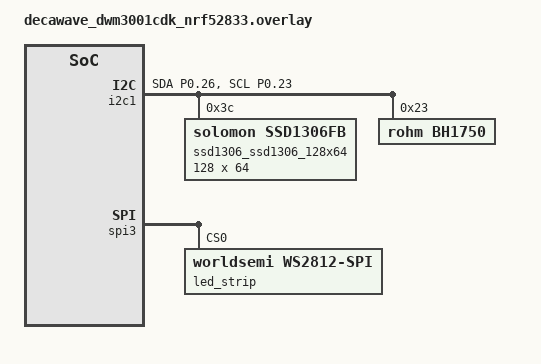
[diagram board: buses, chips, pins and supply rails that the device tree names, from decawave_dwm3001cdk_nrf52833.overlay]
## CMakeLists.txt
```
# SPDX-License-Identifier: Apache-2.0

cmake_minimum_required(VERSION 3.20.0)

find_package(Zephyr REQUIRED HINTS $ENV{ZEPHYR_BASE})
project(funpack_dwm3001cdk)

target_sources(app PRIVATE 
src/main.c 
src/my_lbs.c
src/bh1750_sensor.c
)
zephyr_library_include_directories(.)
set(BOARD_FLASH_RUNNER jlink)
```

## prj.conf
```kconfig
#
# Copyright (c) 2018 Nordic Semiconductor
#
# SPDX-License-Identifier: LicenseRef-Nordic-5-Clause
#

# Logger module
CONFIG_LOG=y
# CONFIG_LOG_DEFAULT_LEVEL=4
# Button and LED library
CONFIG_DK_LIBRARY=y
# Floating Point Unit
# CONFIG_FPU=y
# Bluetooth LE
# STEP 1 - Include the Bluetooth LE stack in your project
CONFIG_BT=y
# STEP 2 - Set the Bluetooth LE device name
CONFIG_BT_DEVICE_NAME="FUNPACK_DWM3001CDK"

# Increase stack size for the main thread and System Workqueue
CONFIG_SYSTEM_WORKQUEUE_STACK_SIZE=2048
CONFIG_MAIN_STACK_SIZE=4096

CONFIG_BT_PERIPHERAL=y
# CONFIG_SHIELD_SSD1306_128X64=y



CONFIG_I2C=y
# CONFIG_I2C_SHELL=y
# CONFIG_SHELL=y
# CONFIG_SHELL_BACKEND_SERIAL=y
CONFIG_SSD1306=y


CONFIG_HEAP_MEM_POOL_SIZE=16384
CONFIG_DISPLAY=y

CONFIG_CFB_LOG_LEVEL_DBG=y
CONFIG_CHARACTER_FRAMEBUFFER=y


CONFIG_LED_STRIP=y
CONFIG_LED_STRIP_LOG_LEVEL_DBG=y
CONFIG_SOC_NRF52832_ALLOW_SPIM_DESPITE_PAN_58=y
```

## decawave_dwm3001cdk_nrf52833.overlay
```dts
// To get started, press Ctrl+Space to bring up the completion menu and view the available nodes.

// You can also use the buttons in the sidebar to perform actions on nodes.
// Actions currently available include:

// * Enabling / disabling the node
// * Adding the bus to a bus
// * Removing the node
// * Connecting ADC channels

// For more help, browse the DeviceTree documentation at https://docs.zephyrproject.org/latest/guides/dts/index.html
// You can also visit the nRF DeviceTree extension documentation at https://docs.nordicsemi.com/bundle/nrf-connect-vscode/page/guides/ncs_configure_app.html#devicetree-support-in-the-extension
#include <zephyr/dt-bindings/led/led.h>

#include "nrf52-bindings.h"
/ {
	chosen {
		zephyr,display = &ssd1306_ssd1306_128x64;
	};
	aliases {
		led-strip = &led_strip;
	};
};

&i2c1 {
	status = "okay";
	pinctrl-0 = <&i2c1_default>;
	pinctrl-names = "default";
	zephyr,concat-buf-size = <2048>;
	zephyr,flash-buf-max-size = <2048>;
	ssd1306_ssd1306_128x64: ssd1306@3c {
		compatible = "solomon,ssd1306fb";
		reg = <0x3c>;
		width = <128>;
		height = <64>;
		segment-offset = <0>;
		page-offset = <0>;
		display-offset = <0>;
		multiplex-ratio = <63>;
		segment-remap;
		com-invdir;
		prechargep = <0x22>;
	};

	bh1750: bh1750@23 {
		status = "okay";
		compatible = "rohm,bh1750";
		reg = <0x23>;
	};
};

&pinctrl {
	i2c1_default: i2c1_default {
		group1 {
			psels = <NRF_PSEL(TWIM_SDA, 0, 26)>, <NRF_PSEL(TWIM_SCL, 0, 23)>;
            bias-pull-up;
		};
	};
};
&spi3 { /* MOSI on  / P0.27 */
	compatible = "nordic,nrf-spim";
	led_strip: ws2812@0 {
		compatible = "worldsemi,ws2812-spi";

		/* SPI */
		reg = <0>; /* ignored, but necessary for SPI bindings */
		spi-max-frequency = <SPI_FREQ>;

		/* WS2812 */
		chain-length = <64>; /* arbitrary; change at will */
		color-mapping = <LED_COLOR_ID_GREEN
				 LED_COLOR_ID_RED
				 LED_COLOR_ID_BLUE>;
		spi-one-frame = <ONE_FRAME>;
		spi-zero-frame = <ZERO_FRAME>;
	};
};
&spi3_default {
	group1 {
		psels = <NRF_PSEL(SPIM_SCK, 0, 3)>,
				<NRF_PSEL(SPIM_MOSI, 0, 27)>,
				<NRF_PSEL(SPIM_MISO, 0, 29)>;
	};
};
```

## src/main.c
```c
#include <stdint.h>
#include <zephyr/kernel.h>
#include <zephyr/logging/log.h>
#include <zephyr/bluetooth/bluetooth.h>
#include <zephyr/bluetooth/gap.h>
#include <zephyr/bluetooth/uuid.h>
#include <zephyr/bluetooth/addr.h>
#include <dk_buttons_and_leds.h>
#include "zephyr/bluetooth/conn.h"
#include <zephyr/drivers/display.h>
#include <zephyr/display/cfb.h>
#include <zephyr/drivers/led_strip.h>
#include <zephyr/drivers/sensor.h>
#include <stdio.h>
#include "my_lbs.h"
#include "led_strip.h"
LOG_MODULE_REGISTER(FUNPACK_DWM3001CDK, LOG_LEVEL_INF);
#define COMPANY_ID_CODE 0x0059

#define DEVICE_NAME     CONFIG_BT_DEVICE_NAME
#define DEVICE_NAME_LEN (sizeof(DEVICE_NAME) - 1)

#define RUN_STATUS_LED         DK_LED4
#define RUN_LED_BLINK_INTERVAL 1000
#define CONNECTION_STATUS_LED  DK_LED2
#define LBS_LED                DK_LED1
#define USER_BUTTON            DK_BTN1_MSK

#define DISPLAY_BUFFER_PITCH 128
struct bt_conn* default_conn        = NULL;
static const struct bt_le_adv_param* adv_param = BT_LE_ADV_PARAM(BT_LE_ADV_OPT_CONN
                                                                     | BT_LE_ADV_OPT_USE_IDENTITY,
                                                                 BT_GAP_ADV_FAST_INT_MIN_1,
                                                                 BT_GAP_ADV_FAST_INT_MIN_1,
                                                                 NULL);

typedef struct {
    uint16_t company_id;
    uint16_t number_pressed;
} adv_mfg_data_t;

static adv_mfg_data_t adv_mfg_data = {
    .company_id     = COMPANY_ID_CODE,
    .number_pressed = 0,
};
static const struct bt_data ad[] = {
    BT_DATA_BYTES(BT_DATA_FLAGS, BT_LE_AD_GENERAL | BT_LE_AD_NO_BREDR),
    BT_DATA(BT_DATA_NAME_COMPLETE, DEVICE_NAME, DEVICE_NAME_LEN),
    BT_DATA(BT_DATA_MANUFACTURER_DATA, (uint8_t*)&adv_mfg_data, sizeof(adv_mfg_data)),

};

static const struct bt_data sd[] = {

    BT_DATA_BYTES(BT_DATA_UUID128_ALL,
                  BT_UUID_128_ENCODE(0x00001523, 0x1212, 0xefde, 0x1523, 0x785feabcd123)),
};

void on_connected(struct bt_conn* conn, uint8_t err) {
    if (err) {
        LOG_ERR("Failed to connect (err %d)\n", err);
        return;
    }
    LOG_INF("...Connected\n");
    default_conn = bt_conn_ref(conn);
    dk_set_led_on(CONNECTION_STATUS_LED);
    struct bt_conn_info info;
    bt_conn_get_info(default_conn, &info);
    LOG_INF("Connected to %02x:%02x:%02x:%02x:%02x:%02x\n",
            info.le.dst->a.val[5],
            info.le.dst->a.val[4],
            info.le.dst->a.val[3],
            info.le.dst->a.val[2],
            info.le.dst->a.val[1],
            info.le.dst->a.val[0]);
    double coon_intvl = info.le.interval * 1.25;
    uint16_t spv_tmo  = info.le.timeout * 10;
    LOG_INF("coon parameter: interval: %.2f ms; latency %d intervals, timeout %d ms",
            coon_intvl,
            info.le.latency,
            spv_tmo);
}

void on_disconnected(struct bt_conn* conn, uint8_t reason) {
    dk_set_led_off(CONNECTION_STATUS_LED);
    if (default_conn) {
        bt_conn_unref(default_conn);
        // default_conn = NULL;
    }
    LOG_INF("Disconnected (reason %u)\n", reason);
}

struct bt_conn_cb conn_callbacks = {
    .connected    = on_connected,
    .disconnected = on_disconnected,

};
static uint32_t user_button_state;

static void button_changed(uint32_t button_state, uint32_t has_changed) {
    int err;
    bool btn_ched = (has_changed & USER_BUTTON) ? true : false;
    bool btn_pred = (button_state & USER_BUTTON) ? true : false;
    if (btn_ched) {
        LOG_INF("Button %s\n", btn_pred ? "pressed" : "released");
        user_button_state = button_state & USER_BUTTON;
        my_lbs_sent_btn_indi(user_button_state);
    }
}

static int init_button(void) {
    int err;

    err = dk_buttons_init(button_changed);
    if (err) {
        printk("Cannot init buttons (err: %d)\n", err);
    }

    return err;
}

bool btn_cb(void) {
    return dk_get_buttons() & USER_BUTTON;
}

void led_cb(const bool led_state) {
    if (led_state) {
        dk_set_led_on(LBS_LED);
    } else {
        dk_set_led_off(LBS_LED);
    }
}
struct bt_lbs_cb lbs_cb = {
    .led_write                = led_cb,
    .button_read              = btn_cb,
    .led_strip_display_number = led_strip_display_number,
};

int main(void) {
    int blink_status = 0;
    int err;

    LOG_INF("Starting Lesson 2 - Exercise 1 \n");

    err = dk_leds_init();
    if (err) {
        LOG_ERR("LEDs init failed (err %d)\n", err);
        return -1;
    }

    err = init_button();
    if (err) {

        LOG_ERR("Button init failed (err %d)\n", err);
        return -1;
    }
    my_lbs_init(&lbs_cb);

    bt_addr_le_t addr;
    err = bt_addr_le_from_str("FF:EE:DD:CC:BB:AA", "random", &addr);
    if (err < 0) {
        LOG_ERR("Failed to parse address (err %d)\n", err);
        return -1;
    }
    err = bt_id_create(&addr, NULL);
    if (err < 0) {
        LOG_ERR("Failed to create identity (err %d)\n", err);
        return -1;
    }
    err = bt_conn_cb_register(&conn_callbacks);
    if (err < 0) {
        LOG_ERR("Failed to register connection callbacks (err %d)\n", err);
        return -1;
    }
    err = bt_enable(NULL);
    if (err < 0) {
        LOG_ERR("Bluetooth init failed (err %d)\n", err);
        return -1;
    }

    LOG_INF("Bluetooth initialized\n");

    err = bt_le_adv_start(adv_param, ad, ARRAY_SIZE(ad), sd, ARRAY_SIZE(sd));
    if (err) {
        LOG_ERR("Advertising failed to start (err %d)\n", err);
        return -1;
    }

    LOG_INF("Advertising successfully started\n");

    const struct device* display;
    display = DEVICE_DT_GET(DT_CHOSEN(zephyr_display));
    if (display == NULL) {
        LOG_ERR("device pointer is NULL");
        return -1;
    }

    if (!device_is_ready(display)) {
        LOG_ERR("display device is not ready");
        return -1;
    }
    err = cfb_framebuffer_init(display);
    if (err < 0) {
        LOG_ERR("Framebuffer initialization failed");
        return -1;
    }
    // cfb_set_kerning(display, 3);
    err = cfb_print(display, "hello world", 0, 0);
    if (err < 0) {
        LOG_ERR("cfb_print failed");
        return -1;
    }
    err = cfb_framebuffer_invert(display);
    err = cfb_framebuffer_finalize(display);
    if (err < 0) {
        LOG_ERR("Framebuffer finalization failed");
        return -1;
    }
    struct display_capabilities capabilities;
    display_get_capabilities(display, &capabilities);

    const uint16_t x_res = capabilities.x_resolution;
    const uint16_t y_res = capabilities.y_resolution;

    LOG_INF("x_resolution: %d", x_res);
    LOG_INF("y_resolution: %d", y_res);
    LOG_INF("supported pixel formats: %d", capabilities.supported_pixel_formats);
    LOG_INF("screen_info: %d", capabilities.screen_info);
    LOG_INF("current_pixel_format: %d", capabilities.current_pixel_format);
    LOG_INF("current_orientation: %d", capabilities.current_orientation);
    led_strip_init();
    led_strip_set_char_spacing(0);
    led_strip_scroll_text("Hello, world!", SCROLL_LEFT);
    for (;;) {
        led_strip_scroll_update();
        k_msleep(250);
    }
}
```

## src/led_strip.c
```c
#include <stdint.h>
#include <zephyr/kernel.h>
#include <zephyr/logging/log.h>
#include <zephyr/drivers/led_strip.h>
#include <string.h>
#include "numbers.h"
#include "led_strip.h"

LOG_MODULE_REGISTER(LED_STRIP, LOG_LEVEL_INF);

#define STRIP_NODE DT_ALIAS(led_strip)

#if DT_NODE_HAS_PROP(DT_ALIAS(led_strip), chain_length)
#define STRIP_NUM_PIXELS DT_PROP(DT_ALIAS(led_strip), chain_length)
#else
#error Unable to determine length of LED strip
#endif

#define LED_MATRIX_SIZE   8
#define NUM_PIXELS        (LED_MATRIX_SIZE * LED_MATRIX_SIZE)
#define MAX_STRING_LENGTH 100

// 滚动方向
// typedef enum { SCROLL_LEFT, SCROLL_RIGHT } scroll_direction_t;

// LED像素缓冲区
static struct led_rgb pixels[STRIP_NUM_PIXELS];
static const struct device* const strip = DEVICE_DT_GET(STRIP_NODE);

// 滚动显示相关变量
static uint8_t scroll_buffer[MAX_STRING_LENGTH * LED_MATRIX_SIZE][LED_MATRIX_SIZE];
static int scroll_buffer_width              = 0;
static int scroll_position                  = 0;
static bool scroll_running                  = false;
static scroll_direction_t current_direction = SCROLL_LEFT;

// 获取LED矩阵中LED的索引
#define LED_INDEX(row, col) ((row) * LED_MATRIX_SIZE + (col))

static void clear_display(struct led_rgb* pixels) {
    const struct led_rgb color_off = LED_COLOR_OFF;
    for (int i = 0; i < STRIP_NUM_PIXELS; i++) {
        pixels[i] = color_off;
    }
}

static void update_display() {
    int ret = led_strip_update_rgb(strip, pixels, STRIP_NUM_PIXELS);
    if (ret) {
        printk("Failed to update strip: %d\n", ret);
    }
}

// 添加字符间距配置
static uint8_t char_spacing = 1; // 默认间距为1个像素

// 设置字符间距的函数
void led_strip_set_char_spacing(uint8_t spacing) {
    char_spacing = spacing;
}
// 准备字符串的滚动缓冲区
static void prepare_scroll_buffer(const char* str) {
    int str_len = strlen(str);
    memset(scroll_buffer, 0, sizeof(scroll_buffer));
    scroll_buffer_width = 0;

    // 为每个字符创建点阵
    for (int i = 0; i < str_len; i++) {
        char c = str[i];
        // 确保字符在ASCII范围内
        if (c < 0 || c > 127) {
            continue;
        }

        uint8_t char_width = CHAR_WIDTHS[c];

        // 复制字符的实际点阵到滚动缓冲区
        for (int row = 0; row < 7; row++) {              // 只复制7行
            for (int col = 0; col < char_width; col++) { // 只复制实际宽度
                scroll_buffer[scroll_buffer_width + col][row + 1] = ASCII_CHARS[c][row][col];
                // row + 1 使字符在8x8矩阵中垂直居中
            }
        }
        scroll_buffer_width += char_width;

        // 在字符之间添加1像素的间距
        if (i < str_len - 1) {
            scroll_buffer_width += 1;
        }
    }
}

void led_strip_scroll_text(const char* str, scroll_direction_t direction) {
    if (!device_is_ready(strip)) {
        LOG_ERR("LED strip device is not ready");
        return;
    }

    current_direction = direction;
    scroll_running    = true;
    scroll_position   = (direction == SCROLL_LEFT) ? 0 : -scroll_buffer_width + LED_MATRIX_SIZE;

    prepare_scroll_buffer(str);
}

void led_strip_scroll_update() {
    if (!scroll_running) {
        return;
    }

    const struct led_rgb color_on  = LED_COLOR_WHITE;
    const struct led_rgb color_off = LED_COLOR_OFF;

    // 清除显示
    clear_display(pixels);

    // 更新显示内容
    for (int row = 0; row < LED_MATRIX_SIZE; row++) {
        for (int col = 0; col < LED_MATRIX_SIZE; col++) {
            int buffer_x = scroll_position + col;
            if (buffer_x >= 0 && buffer_x < scroll_buffer_width) {
                int idx     = LED_INDEX(row, col);
                pixels[idx] = scroll_buffer[buffer_x][row] ? color_on : color_off;
            }
        }
    }

    // 更新LED显示
    update_display();

    // 更新滚动位置
    if (current_direction == SCROLL_LEFT) {
        scroll_position++;
        if (scroll_position >= scroll_buffer_width) {
            scroll_position = 0; // 循环滚动
        }
    } else {
        scroll_position--;
        if (scroll_position <= -scroll_buffer_width) {
            scroll_position = LED_MATRIX_SIZE - 1; // 循环滚动
        }
    }
}

void led_strip_stop_scroll() {
    scroll_running = false;
    clear_display(pixels);
    update_display();
}

int led_strip_init() {
    if (!device_is_ready(strip)) {
        LOG_ERR("LED strip device %s is not ready", strip->name);
        return -1;
    }

    LOG_INF("LED strip initialized successfully");
    clear_display(pixels);
    update_display();
    return 0;
}

// 保持向后兼容的数字显示功能
void led_strip_display_number(uint8_t number) {
    if (number > 9) {
        return;
    }

    char str[2] = {number + '0', '\0'};
    led_strip_scroll_text(str, SCROLL_LEFT);
}
```

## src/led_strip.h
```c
#ifndef LED_STRIP_H_
#define LED_STRIP_H_
int led_strip_init();
void led_strip_display_number(uint8_t number);
#endif // LED_STRIP_H_
```

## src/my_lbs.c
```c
#include <stdint.h>
#include <zephyr/types.h>
#include <stddef.h>
#include <string.h>
#include <errno.h>
#include <zephyr/sys/printk.h>
#include <zephyr/sys/byteorder.h>
#include <zephyr/kernel.h>

#include <zephyr/bluetooth/bluetooth.h>
#include <zephyr/bluetooth/hci.h>
#include <zephyr/bluetooth/conn.h>
#include <zephyr/bluetooth/uuid.h>
#include <zephyr/bluetooth/gatt.h>
#include <zephyr/drivers/display.h>
#include <zephyr/display/cfb.h>
#include "my_lbs.h"
#include "led_strip.h"
#include <zephyr/logging/log.h>

LOG_MODULE_REGISTER(MY_LBS, LOG_LEVEL_DBG);

static struct bt_lbs_cb lbs_cb;
char uart_display_buffer[100];
static ssize_t read_button(struct bt_conn* conn,
                           const struct bt_gatt_attr* attr,
                           void* buf,
                           uint16_t len,
                           uint16_t offset) {
    LOG_DBG("Attribute read, handle: %u, conn: %p", attr->handle, (void*)conn);

    if (lbs_cb.button_read) {
        // Get button state directly from callback
        uint8_t value = lbs_cb.button_read();
        LOG_DBG("buf: %p, len: %u, offset: %u, value: %u", buf, len, offset, value);
        // Pass the value directly to bt_gatt_attr_read
        return bt_gatt_attr_read(conn, attr, buf, len, offset, &value, sizeof(value));
    }

    return 0;
}

static ssize_t write_led(struct bt_conn* conn,
                         const struct bt_gatt_attr* attr,
                         const void* buf,
                         uint16_t len,
                         uint16_t offset,
                         uint8_t flags) {
    LOG_DBG("attribute write, handle: %u, conn: %p", attr->handle, (void*)conn);
    LOG_DBG("... len: %u, offset: %u, flags: %u", len, offset, flags);
    if (lbs_cb.led_write) {
        // Get the value directly from the buffer
        bool led_state = *((bool*)buf);
        LOG_DBG("led_state: %u", led_state);
        // Pass the value directly to the callback
        lbs_cb.led_write(led_state);
    }
    return len;
};

static ssize_t strip_display_number(struct bt_conn* conn,
                                    const struct bt_gatt_attr* attr,
                                    const void* buf,
                                    uint16_t len,
                                    uint16_t offset,
                                    uint8_t flags) {
    LOG_DBG("attribute write, handle: %u, conn: %p", attr->handle, (void*)conn);
    LOG_DBG("... len: %u, offset: %u, flags: %u", len, offset, flags);
    if (lbs_cb.led_strip_display_number) {
        // Get the value directly from the buffer
        uint8_t number = *((uint8_t*)buf);
        LOG_DBG("number: %u", number);
        // Pass the value directly to the callback
        lbs_cb.led_strip_display_number(number);
    }
    return len;
};
extern const struct device* display;
static ssize_t on_receive(struct bt_conn* conn,
                          const struct bt_gatt_attr* attr,
                          const void* buf,
                          uint16_t len,
                          uint16_t offset,
                          uint8_t flags) {
    LOG_DBG("Received data, handle %d, conn %p", attr->handle, (void*)conn);
    memcpy(uart_display_buffer, buf, len);
    uart_display_buffer[len] = '\0'; // Null-terminate the string
    LOG_DBG("Received data: %s", uart_display_buffer);
    led_strip_scroll_text(uart_display_buffer, SCROLL_LEFT);
    int err = 0;
    cfb_framebuffer_clear(display, 0);
    err = cfb_print(display, uart_display_buffer, 0, 0);
    if (err < 0) {
        LOG_ERR("cfb_print failed");
        return -1;
    }
    err = cfb_framebuffer_invert(display);
    err = cfb_framebuffer_finalize(display);
    if (err < 0) {
        LOG_ERR("Framebuffer finalization failed");
        return -1;
    }
    // if (lbs_cb.received) {
    //     lbs_cb.received(conn, buf, len);
    // }
    // return len;
}
bool indicate_enabled;
bool notify_mysensor_enabled;
static struct bt_gatt_indicate_params indi_params;

static void my_lbs_changed_cb(const struct bt_gatt_attr* attr, uint16_t value) {
    LOG_DBG("Attribute changed: %u", value);
    indicate_enabled = (value == BT_GATT_CCC_INDICATE) ? true : false;
}

static void mylbsbc_ccc_mysensor_cfg_changed(const struct bt_gatt_attr* attr, uint16_t value) {
    LOG_DBG("... CCC MYSENSOR cfg changed: %u", value);
    notify_mysensor_enabled = (value == BT_GATT_CCC_NOTIFY);
}

BT_GATT_SERVICE_DEFINE(my_lbs,
                       BT_GATT_PRIMARY_SERVICE(BT_UUID_LBS),
                       BT_GATT_CHARACTERISTIC(BT_UUID_LBS_BUTTON,
                                              BT_GATT_CHRC_READ | BT_GATT_CHRC_INDICATE,
                                              BT_GATT_PERM_READ,
                                              read_button,
                                              NULL,
                                              NULL), // No user data needed
                       BT_GATT_CCC(my_lbs_changed_cb, BT_GATT_PERM_READ | BT_GATT_PERM_WRITE),
                       BT_GATT_CHARACTERISTIC(BT_UUID_LBS_LED,
                                              BT_GATT_CHRC_WRITE,
                                              BT_GATT_PERM_WRITE,
                                              NULL,
                                              write_led,
                                              NULL),
                       BT_GATT_CHARACTERISTIC(BT_UUID_LBS_MYSENSOR,
                                              BT_GATT_CHRC_NOTIFY,
                                              BT_GATT_PERM_NONE,
                                              NULL,
                                              NULL,
                                              NULL),
                       BT_GATT_CCC(mylbsbc_ccc_mysensor_cfg_changed,
                                   BT_GATT_PERM_READ | BT_GATT_PERM_WRITE),
                       BT_GATT_CHARACTERISTIC(BT_UUID_LBS_LED_STRIP,
                                              BT_GATT_CHRC_WRITE,
                                              BT_GATT_PERM_WRITE,
                                              NULL,
                                              strip_display_number,
                                              NULL),
                       BT_GATT_CHARACTERISTIC(BT_UUID_NUS_RX,
                                              BT_GATT_CHRC_WRITE | BT_GATT_CHRC_WRITE_WITHOUT_RESP,
                                              BT_GATT_PERM_READ | BT_GATT_PERM_WRITE,
                                              NULL,
                                              on_receive,
                                              NULL));

void indi_cb(struct bt_conn* conn, struct bt_gatt_indicate_params* params, uint8_t err) {
    if (err != 0) {
        LOG_ERR("Indication failed: %d", err);
    } else {
        LOG_DBG("Indication sent successfully");
    }
    // Reset the indication parameters
    // indicate_enabled = false;
    // memset(&indi_params, 0, sizeof(indi_params));
}

int my_lbs_sent_btn_indi(bool btn_state) {
    if (!indicate_enabled) {
        return -EACCES;
    }
    indi_params.attr    = &my_lbs.attrs[2];
    indi_params.data    = &btn_state;
    indi_params.len     = sizeof(btn_state);
    indi_params.func    = indi_cb;
    indi_params.destroy = NULL; // No need to destroy the params
    return bt_gatt_indicate(NULL, &indi_params);
}

int my_lbs_send_sensor_notify(uint32_t sensor_value) {
    if (!notify_mysensor_enabled) {
        return -EACCES;
    }

    return bt_gatt_notify(NULL, &my_lbs.attrs[7], &sensor_value, sizeof(sensor_value));
}

int my_lbs_init(const struct bt_lbs_cb* callbacks) {
    if (callbacks) {
        lbs_cb.led_write   = callbacks->led_write;
        lbs_cb.button_read = callbacks->button_read;
        lbs_cb.led_strip_display_number = callbacks->led_strip_display_number;
    }

    return 0;
}
```

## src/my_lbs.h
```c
#ifndef MY_LBS_H_
#define MY_LBS_H_

#include <zephyr/types.h>
#include "src/led_strip.h"
#define BT_UUID_LBS_VAL BT_UUID_128_ENCODE(0x00001532, 0x1212, 0xefde, 0x1523, 0x785feabcd123)

/** @brief Button Characteristic UUID. */
#define BT_UUID_LBS_BUTTON_VAL                                                                     \
	BT_UUID_128_ENCODE(0x00001533, 0x1212, 0xefde, 0x1523, 0x785feabcd123)

/** @brief LED Characteristic UUID. */
#define BT_UUID_LBS_LED_VAL BT_UUID_128_ENCODE(0x00001534, 0x1212, 0xefde, 0x1523, 0x785feabcd123)
#define BT_UUID_LBS_MYSENSOR_VAL \
	BT_UUID_128_ENCODE(0x00001535, 0x1212, 0xefde, 0x1523, 0x785feabcd123)
#define BT_UUID_LBS_LED_STRIP_VAL                                                                  \
    BT_UUID_128_ENCODE(0x00001536, 0x1212, 0xefde, 0x1523, 0x785feabcd123)

/** @brief UUID of the RX Characteristic. **/
#define BT_UUID_NUS_RX_VAL       BT_UUID_128_ENCODE(0x00001537, 0x1212, 0xefde, 0x1523, 0x785feabcd123)
#define  BT_UUID_LBS BT_UUID_DECLARE_128(BT_UUID_LBS_VAL)
#define  BT_UUID_LBS_BUTTON BT_UUID_DECLARE_128(BT_UUID_LBS_BUTTON_VAL)
#define BT_UUID_LBS_LED     BT_UUID_DECLARE_128(BT_UUID_LBS_LED_VAL)
#define BT_UUID_LBS_MYSENSOR     BT_UUID_DECLARE_128(BT_UUID_LBS_MYSENSOR_VAL)
#define BT_UUID_LBS_LED_STRIP    BT_UUID_DECLARE_128(BT_UUID_LBS_LED_STRIP_VAL)
#define BT_UUID_NUS_RX           BT_UUID_DECLARE_128(BT_UUID_NUS_RX_VAL)

struct bt_lbs_cb {
    bool (*button_read)(void);
    void (*led_write)(const bool led_state);
    void (*led_strip_display_number)(uint8_t number);
    void (*received)(struct bt_conn* conn, const uint8_t* const data, uint16_t len);
};

int my_lbs_init(const struct bt_lbs_cb* callbacks);
int my_lbs_sent_btn_indi(bool btn_state);
int my_lbs_send_sensor_notify(uint32_t sensor_value);
#endif // MY_LBS_H_
```

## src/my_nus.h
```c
#ifndef MY_NUS_H_
#define MY_NUS_H_



#endif // MY_NUS_H_
```

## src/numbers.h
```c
#ifndef NUMBERS_H
#define NUMBERS_H
#include <zephyr/drivers/led_strip.h>

#define CONFIG_SAMPLE_LED_BRIGHTNESS   25
#define CONFIG_SAMPLE_LED_UPDATE_DELAY 100

// 定义RGB颜色
#define LED_COLOR_WHITE {.r = 35, .g = 23, .b = 37}
#define LED_COLOR_OFF   {.r = 0, .g = 0, .b = 0}

// 为每个字符定义实际宽度
static const uint8_t CHAR_WIDTHS[128] = {
    [' '] = 2,                                  // 空格
    ['!'] = 1, [','] = 2, ['.'] = 1, ['?'] = 4, // 标点符号
    ['-'] = 3, ['+'] = 3, [':'] = 1, [';'] = 2, ['('] = 2,  [')'] = 2, ['['] = 2,  [']'] = 2,
    ['<'] = 3, ['>'] = 3, ['='] = 3, ['*'] = 3, ['\''] = 1, ['"'] = 3, ['\\'] = 3, ['/'] = 3,
    ['0'] = 4, ['1'] = 3, ['2'] = 4, ['3'] = 4, ['4'] = 4,  ['5'] = 4, ['6'] = 4,  ['7'] = 4,
    ['8'] = 4, ['9'] = 4, ['A'] = 4, ['B'] = 4, ['C'] = 4,  ['D'] = 4, ['E'] = 4,  ['F'] = 4,
    ['G'] = 4, ['H'] = 4, ['I'] = 3, ['J'] = 4, ['K'] = 4,  ['L'] = 4, ['M'] = 5,  ['N'] = 4,
    ['O'] = 4, ['P'] = 4, ['Q'] = 4, ['R'] = 4, ['S'] = 4,  ['T'] = 3, ['U'] = 4,  ['V'] = 4,
    ['W'] = 5, ['X'] = 4, ['Y'] = 4, ['Z'] = 4, ['a'] = 4,  ['b'] = 4, ['c'] = 3,  ['d'] = 4,
    ['e'] = 4, ['f'] = 3, ['g'] = 4, ['h'] = 4, ['i'] = 1,  ['j'] = 2, ['k'] = 3,  ['l'] = 1,
    ['m'] = 5, ['n'] = 4, ['o'] = 4, ['p'] = 4, ['q'] = 4,  ['r'] = 3, ['s'] = 4,  ['t'] = 3,
    ['u'] = 4, ['v'] = 3, ['w'] = 5, ['x'] = 3, ['y'] = 3,  ['z'] = 3};

// ASCII字符的点阵字库(原有大写字母和数字保持不变,新增内容如下)
static const uint8_t ASCII_CHARS[128][7][5] = {
    // ... (保持原有的空格、数字0-9和大写字母A-Z不变)
    [' '] =
        {// 空格
         {0, 0},
               {0, 0},
               {0, 0},
               {0, 0},
               {0, 0},
               {0, 0},
               {0, 0}         },
    ['0'] =
        {// 数字0
         {1, 1, 1, 1},
               {1, 0, 0, 1},
               {1, 0, 0, 1},
               {1, 0, 0, 1},
               {1, 0, 0, 1},
               {1, 0, 0, 1},
               {1, 1, 1, 1}   },
    ['1'] =
        {// 数字1
         {0, 1, 1, 0},
               {0, 0, 1, 0},
               {0, 0, 1, 0},
               {0, 0, 1, 0},
               {0, 0, 1, 0},
               {0, 0, 1, 0},
               {1, 1, 1, 0}   },
    ['2'] =
        {// 数字2
         {1, 1, 1, 1},
               {0, 0, 0, 1},
               {0, 0, 0, 1},
               {1, 1, 1, 1},
               {1, 0, 0, 0},
               {1, 0, 0, 0},
               {1, 1, 1, 1}   },
    ['3'] =
        {// 数字3
         {1, 1, 1, 1},
               {0, 0, 0, 1},
               {0, 0, 0, 1},
               {0, 1, 1, 1},
               {0, 0, 0, 1},
               {0, 0, 0, 1},
               {1, 1, 1, 1}   },
    ['4'] =
        {// 数字4
         {1, 0, 0, 1},
               {1, 0, 0, 1},
               {1, 0, 0, 1},
               {1, 1, 1, 1},
               {0, 0, 0, 1},
               {0, 0, 0, 1},
               {0, 0, 0, 1}   },
    ['5'] =
        {// 数字5
         {1, 1, 1, 1},
               {1, 0, 0, 0},
               {1, 0, 0, 0},
               {1, 1, 1, 1},
               {0, 0, 0, 1},
               {0, 0, 0, 1},
               {1, 1, 1, 1}   },
    ['6'] =
        {// 数字6
         {1, 1, 1, 1},
               {1, 0, 0, 0},
               {1, 0, 0, 0},
               {1, 1, 1, 1},
               {1, 0, 0, 1},
               {1, 0, 0, 1},
               {1, 1, 1, 1}   },
    ['7'] =
        {// 数字7
         {1, 1, 1, 1},
               {0, 0, 0, 1},
               {0, 0, 1, 0},
               {0, 1, 0, 0},
               {0, 1, 0, 0},
               {0, 1, 0, 0},
               {0, 1, 0, 0}   },
    ['8'] =
        {// 数字8
         {1, 1, 1, 1},
               {1, 0, 0, 1},
               {1, 0, 0, 1},
               {1, 1, 1, 1},
               {1, 0, 0, 1},
               {1, 0, 0, 1},
               {1, 1, 1, 1}   },
    ['9'] =
        {// 数字9
         {1, 1, 1, 1},
               {1, 0, 0, 1},
               {1, 0, 0, 1},
               {1, 1, 1, 1},
               {0, 0, 0, 1},
               {0, 0, 0, 1},
               {1, 1, 1, 1}   },
    ['A'] =
        {// 字母A
         {0, 1, 1, 0},
               {1, 0, 0, 1},
               {1, 0, 0, 1},
               {1, 1, 1, 1},
               {1, 0, 0, 1},
               {1, 0, 0, 1},
               {1, 0, 0, 1}   },
    ['B'] =
        {// 字母B
         {1, 1, 1, 0},
               {1, 0, 0, 1},
               {1, 0, 0, 1},
               {1, 1, 1, 0},
               {1, 0, 0, 1},
               {1, 0, 0, 1},
               {1, 1, 1, 0}   },
    ['C'] =
        {// 字母C
         {0, 1, 1, 1},
               {1, 0, 0, 0},
               {1, 0, 0, 0},
               {1, 0, 0, 0},
               {1, 0, 0, 0},
               {1, 0, 0, 0},
               {0, 1, 1, 1}   },
    ['D'] =
        {// 字母D
         {1, 1, 1, 0},
               {1, 0, 0, 1},
               {1, 0, 0, 1},
               {1, 0, 0, 1},
               {1, 0, 0, 1},
               {1, 0, 0, 1},
               {1, 1, 1, 0}   },
    ['E'] =
        {// 字母E
         {1, 1, 1, 1},
               {1, 0, 0, 0},
               {1, 0, 0, 0},
               {1, 1, 1, 0},
               {1, 0, 0, 0},
               {1, 0, 0, 0},
               {1, 1, 1, 1}   },
    ['F'] =
        {// 字母F
         {1, 1, 1, 1},
               {1, 0, 0, 0},
               {1, 0, 0, 0},
               {1, 1, 1, 0},
               {1, 0, 0, 0},
               {1, 0, 0, 0},
               {1, 0, 0, 0}   },
    ['G'] =
        {// 字母G
         {0, 1, 1, 1},
               {1, 0, 0, 0},
               {1, 0, 0, 0},
               {1, 0, 1, 1},
               {1, 0, 0, 1},
               {1, 0, 0, 1},
               {0, 1, 1, 1}   },
    ['H'] =
        {// 字母H
         {1, 0, 0, 1},
               {1, 0, 0, 1},
               {1, 0, 0, 1},
               {1, 1, 1, 1},
               {1, 0, 0, 1},
               {1, 0, 0, 1},
               {1, 0, 0, 1}   },
    ['I'] =
        {// 字母I
         {1, 1, 1},
               {0, 1, 0},
               {0, 1, 0},
               {0, 1, 0},
               {0, 1, 0},
               {0, 1, 0},
               {1, 1, 1}      },
    ['J'] =
        {// 字母J
         {0, 1, 1, 1},
               {0, 0, 1, 0},
               {0, 0, 1, 0},
               {0, 0, 1, 0},
               {0, 0, 1, 0},
               {1, 0, 1, 0},
               {0, 1, 0, 0}   },
    ['K'] =
        {// 字母K
         {1, 0, 0, 1},
               {1, 0, 1, 0},
               {1, 1, 0, 0},
               {1, 1, 0, 0},
               {1, 0, 1, 0},
               {1, 0, 0, 1},
               {1, 0, 0, 1}   },
    ['L'] =
        {// 字母L
         {1, 0, 0, 0},
               {1, 0, 0, 0},
               {1, 0, 0, 0},
               {1, 0, 0, 0},
               {1, 0, 0, 0},
               {1, 0, 0, 0},
               {1, 1, 1, 1}   },
    ['M'] =
        {// 字母M
         {1, 0, 0, 0, 1},
               {1, 1, 0, 1, 1},
               {1, 0, 1, 0, 1},
               {1, 0, 0, 0, 1},
               {1, 0, 0, 0, 1},
               {1, 0, 0, 0, 1},
               {1, 0, 0, 0, 1}},
    ['N'] =
        {// 字母N
         {1, 0, 0, 1},
               {1, 1, 0, 1},
               {1, 0, 1, 1},
               {1, 0, 0, 1},
               {1, 0, 0, 1},
               {1, 0, 0, 1},
               {1, 0, 0, 1}   },
    ['O'] =
        {// 字母O
         {0, 1, 1, 0},
               {1, 0, 0, 1},
               {1, 0, 0, 1},
               {1, 0, 0, 1},
               {1, 0, 0, 1},
               {1, 0, 0, 1},
               {0, 1, 1, 0}   },
    ['P'] =
        {// 字母P
         {1, 1, 1, 1},
               {1, 0, 0, 1},
               {1, 0, 0, 1},
               {1, 1, 1, 1},
               {1, 0, 0, 0},
               {1, 0, 0, 0},
               {1, 0, 0, 0}   },
    ['Q'] =
        {// 字母Q
         {0, 1, 1, 0},
               {1, 0, 0, 1},
               {1, 0, 0, 1},
               {1, 0, 0, 1},
               {1, 0, 1, 1},
               {0, 1, 1, 0},
               {0, 0, 0, 1}   },
    ['R'] =
        {// 字母R
         {1, 1, 1, 0},
               {1, 0, 0, 1},
               {1, 0, 0, 1},
               {1, 1, 1, 0},
               {1, 0, 1, 0},
               {1, 0, 0, 1},
               {1, 0, 0, 1}   },
    ['S'] =
        {// 字母S
         {0, 1, 1, 1},
               {1, 0, 0, 0},
               {1, 0, 0, 0},
               {0, 1, 1, 0},
               {0, 0, 0, 1},
               {0, 0, 0, 1},
               {1, 1, 1, 0}   },
    ['T'] =
        {// 字母T
         {1, 1, 1},
               {0, 1, 0},
               {0, 1, 0},
               {0, 1, 0},
               {0, 1, 0},
               {0, 1, 0},
               {0, 1, 0}      },
    ['U'] =
        {// 字母U
         {1, 0, 0, 1},
               {1, 0, 0, 1},
               {1, 0, 0, 1},
               {1, 0, 0, 1},
               {1, 0, 0, 1},
               {1, 0, 0, 1},
               {0, 1, 1, 0}   },
    ['V'] =
        {// 字母V
         {1, 0, 0, 1},
               {1, 0, 0, 1},
               {1, 0, 0, 1},
               {1, 0, 0, 1},
               {1, 0, 0, 1},
               {0, 1, 1, 0},
               {0, 1, 1, 0}   },
    ['W'] =
        {// 字母W
         {1, 0, 0, 0, 1},
               {1, 0, 0, 0, 1},
               {1, 0, 0, 0, 1},
               {1, 0, 1, 0, 1},
               {1, 0, 1, 0, 1},
               {1, 1, 0, 1, 1},
               {1, 0, 0, 0, 1}},
    ['X'] =
        {// 字母X
         {1, 0, 0, 1},
               {1, 0, 0, 1},
               {0, 1, 1, 0},
               {0, 1, 1, 0},
               {0, 1, 1, 0},
               {1, 0, 0, 1},
               {1, 0, 0, 1}   },
    ['Y'] =
        {// 字母Y
         {1, 0, 0, 1},
               {1, 0, 0, 1},
               {0, 1, 1, 0},
               {0, 1, 1, 0},
               {0, 1, 0, 0},
               {0, 1, 0, 0},
               {0, 1, 0, 0}   },
    ['Z'] =
        {// 字母Z
         {1, 1, 1, 1},
               {0, 0, 0, 1},
               {0, 0, 1, 0},
               {0, 1, 0, 0},
               {1, 0, 0, 0},
               {1, 0, 0, 0},
               {1, 1, 1, 1}   },
            // 小写字母a-z
            ['a'] =
                {// 小写a
                 {0, 0, 0, 0},
               {0, 0, 0, 0},
               {0, 1, 1, 0},
               {0, 0, 0, 1},
               {0, 1, 1, 1},
               {1, 0, 0, 1},
               {0, 1, 1, 1}   },
    ['b'] =
        {// 小写b
         {1, 0, 0, 0},
               {1, 0, 0, 0},
               {1, 1, 1, 0},
               {1, 0, 0, 1},
               {1, 0, 0, 1},
               {1, 0, 0, 1},
               {1, 1, 1, 0}   },
    ['c'] =
        {// 小写c
         {0, 0, 0},
               {0, 0, 0},
               {0, 1, 1},
               {1, 0, 0},
               {1, 0, 0},
               {1, 0, 0},
               {0, 1, 1}      },
    ['d'] =
        {// 小写d
         {0, 0, 0, 1},
               {0, 0, 0, 1},
               {0, 1, 1, 1},
               {1, 0, 0, 1},
               {1, 0, 0, 1},
               {1, 0, 0, 1},
               {0, 1, 1, 1}   },
    ['e'] =
        {// 小写e
         {0, 0, 0, 0},
               {0, 0, 0, 0},
               {0, 1, 1, 0},
               {1, 0, 0, 1},
               {1, 1, 1, 1},
               {1, 0, 0, 0},
               {0, 1, 1, 1}   },
    ['f'] =
        {// 小写f
         {0, 1, 1},
               {0, 1, 0},
               {1, 1, 1},
               {0, 1, 0},
               {0, 1, 0},
               {0, 1, 0},
               {0, 1, 0}      },
    ['g'] =
        {// 小写g
         {0, 0, 0, 0},
               {0, 1, 1, 1},
               {1, 0, 0, 1},
               {1, 0, 0, 1},
               {0, 1, 1, 1},
               {0, 0, 0, 1},
               {0, 1, 1, 0}   },
    ['h'] =
        {// 小写h
         {1, 0, 0, 0},
               {1, 0, 0, 0},
               {1, 1, 1, 0},
               {1, 0, 0, 1},
               {1, 0, 0, 1},
               {1, 0, 0, 1},
               {1, 0, 0, 1}   },
    ['i'] =
        {// 小写i
         {1},
               {0},
               {1},
               {1},
               {1},
               {1},
               {1}            },
    ['j'] =
        {// 小写j
         {0, 1},
               {0, 0},
               {0, 1},
               {0, 1},
               {0, 1},
               {0, 1},
               {1, 0}         },
    ['k'] =
        {// 小写k
         {1, 0, 0},
               {1, 0, 0},
               {1, 0, 1},
               {1, 1, 0},
               {1, 1, 0},
               {1, 0, 1},
               {1, 0, 1}      },
    ['l'] =
        {// 小写l
         {1},
               {1},
               {1},
               {1},
               {1},
               {1},
               {1}            },
    ['m'] =
        {// 小写m
         {0, 0, 0, 0, 0},
               {0, 0, 0, 0, 0},
               {1, 1, 0, 1, 0},
               {1, 0, 1, 0, 1},
               {1, 0, 1, 0, 1},
               {1, 0, 1, 0, 1},
               {1, 0, 1, 0, 1}},
    ['n'] =
        {// 小写n
         {0, 0, 0, 0},
               {0, 0, 0, 0},
               {1, 1, 1, 0},
               {1, 0, 0, 1},
               {1, 0, 0, 1},
               {1, 0, 0, 1},
               {1, 0, 0, 1}   },
    ['o'] =
        {// 小写o
         {0, 0, 0, 0},
               {0, 0, 0, 0},
               {0, 1, 1, 0},
               {1, 0, 0, 1},
               {1, 0, 0, 1},
               {1, 0, 0, 1},
               {0, 1, 1, 0}   },
    ['p'] =
        {// 小写p
         {0, 0, 0, 0},
               {0, 0, 0, 0},
               {1, 1, 1, 0},
               {1, 0, 0, 1},
               {1, 1, 1, 0},
               {1, 0, 0, 0},
               {1, 0, 0, 0}   },
    ['q'] =
        {// 小写q
         {0, 0, 0, 0},
               {0, 0, 0, 0},
               {0, 1, 1, 1},
               {1, 0, 0, 1},
               {0, 1, 1, 1},
               {0, 0, 0, 1},
               {0, 0, 0, 1}   },
    ['r'] =
        {// 小写r
         {0, 0, 0},
               {0, 0, 0},
               {1, 0, 1},
               {1, 1, 0},
               {1, 0, 0},
               {1, 0, 0},
               {1, 0, 0}      },
    ['s'] =
        {// 小写s
         {0, 0, 0, 0},
               {0, 0, 0, 0},
               {0, 1, 1, 1},
               {1, 0, 0, 0},
               {0, 1, 1, 0},
               {0, 0, 0, 1},
               {1, 1, 1, 0}   },
    ['t'] =
        {// 小写t
         {0, 1, 0},
               {0, 1, 0},
               {1, 1, 1},
               {0, 1, 0},
               {0, 1, 0},
               {0, 1, 0},
               {0, 1, 1}      },
    ['u'] =
        {// 小写u
         {0, 0, 0, 0},
               {0, 0, 0, 0},
               {1, 0, 0, 1},
               {1, 0, 0, 1},
               {1, 0, 0, 1},
               {1, 0, 0, 1},
               {0, 1, 1, 1}   },
    ['v'] =
        {// 小写v
         {0, 0, 0},
               {0, 0, 0},
               {1, 0, 1},
               {1, 0, 1},
               {1, 0, 1},
               {1, 0, 1},
               {0, 1, 0}      },
    ['w'] =
        {// 小写w
         {0, 0, 0, 0, 0},
               {0, 0, 0, 0, 0},
               {1, 0, 0, 0, 1},
               {1, 0, 1, 0, 1},
               {1, 0, 1, 0, 1},
               {1, 0, 1, 0, 1},
               {0, 1, 0, 1, 0}},
    ['x'] =
        {// 小写x
         {0, 0, 0},
               {0, 0, 0},
               {1, 0, 1},
               {1, 0, 1},
               {0, 1, 0},
               {1, 0, 1},
               {1, 0, 1}      },
    ['y'] =
        {// 小写y
         {0, 0, 0},
               {0, 0, 0},
               {1, 0, 1},
               {1, 0, 1},
               {0, 1, 1},
               {0, 0, 1},
               {1, 1, 0}      },
    ['z'] =
        {// 小写z
         {0, 0, 0},
               {0, 0, 0},
               {1, 1, 1},
               {0, 0, 1},
               {0, 1, 0},
               {1, 0, 0},
               {1, 1, 1}      },

    // 标点符号
    ['!'] =
        {// 感叹号
         {1},
               {1},
               {1},
               {1},
               {1},
               {0},
               {1}            },
    ['.'] =
        {// 句点
         {0},
               {0},
               {0},
               {0},
               {0},
               {0},
               {1}            },
    [','] =
        {// 逗号
         {0, 0},
               {0, 0},
               {0, 0},
               {0, 0},
               {0, 0},
               {0, 1},
               {1, 0}         },
    ['?'] =
        {// 问号
         {0, 1, 1, 0},
               {1, 0, 0, 1},
               {0, 0, 0, 1},
               {0, 0, 1, 0},
               {0, 1, 0, 0},
               {0, 0, 0, 0},
               {0, 1, 0, 0}   },
    ['-'] =
        {// 连字符
         {0, 0, 0},
               {0, 0, 0},
               {0, 0, 0},
               {1, 1, 1},
               {0, 0, 0},
               {0, 0, 0},
               {0, 0, 0}      },
    ['+'] =
        {// 加号
         {0, 0, 0},
               {0, 1, 0},
               {0, 1, 0},
               {1, 1, 1},
               {0, 1, 0},
               {0, 1, 0},
               {0, 0, 0}      },
    [':'] =
        {// 冒号
         {0},
               {1},
               {0},
               {0},
               {0},
               {1},
               {0}            },
    [';'] =
        {// 分号
         {0, 0},
               {0, 1},
               {0, 0},
               {0, 0},
               {0, 0},
               {0, 1},
               {1, 0}         },
    ['('] =
        {// 左括号
         {0, 1},
               {1, 0},
               {1, 0},
               {1, 0},
               {1, 0},
               {1, 0},
               {0, 1}         },
    [')'] =
        {// 右括号
         {1, 0},
               {0, 1},
               {0, 1},
               {0, 1},
               {0, 1},
               {0, 1},
               {1, 0}         },
    ['['] =
        {// 左方括号
         {1, 1},
               {1, 0},
               {1, 0},
               {1, 0},
               {1, 0},
               {1, 0},
               {1, 1}         },
    [']'] =
        {// 右方括号
         {1, 1},
               {0, 1},
               {0, 1},
               {0, 1},
               {0, 1},
               {0, 1},
               {1, 1}         },
    ['<'] =
        {// 小于号
         {0, 0, 1},
               {0, 1, 0},
               {1, 0, 0},
               {1, 0, 0},
               {0, 1, 0},
               {0, 0, 1},
               {0, 0, 0}      },
    ['>'] =
        {// 大于号
         {1, 0, 0},
               {0, 1, 0},
               {0, 0, 1},
               {0, 0, 1},
               {0, 1, 0},
               {1, 0, 0},
               {0, 0, 0}      },
    ['='] =
        {// 等号
         {0, 0, 0},
               {0, 0, 0},
               {1, 1, 1},
               {0, 0, 0},
               {1, 1, 1},
               {0, 0, 0},
               {0, 0, 0}      },
    ['*'] =
        {// 星号
         {0, 0, 0},
               {1, 0, 1},
               {0, 1, 0},
               {1, 1, 1},
               {0, 1, 0},
               {1, 0, 1},
               {0, 0, 0}      },
    ['\''] =
        {// 单引号
         {1},
               {1},
               {0},
               {0},
               {0},
               {0},
               {0}            },
    ['"'] =
        {// 双引号
         {1, 0, 1},
               {1, 0, 1},
               {0, 0, 0},
               {0, 0, 0},
               {0, 0, 0},
               {0, 0, 0},
               {0, 0, 0}      },
    ['\\'] =
        {// 反斜杠
         {1, 0, 0},
               {1, 0, 0},
               {0, 1, 0},
               {0, 1, 0},
               {0, 1, 0},
               {0, 0, 1},
               {0, 0, 1}      },
    ['/'] = {// 正斜杠
             {0, 0, 1},
               {0, 0, 1},
               {0, 1, 0},
               {0, 1, 0},
               {0, 1, 0},
               {1, 0, 0},
               {1, 0, 0}      }
};

#endif // NUMBERS_H
```
